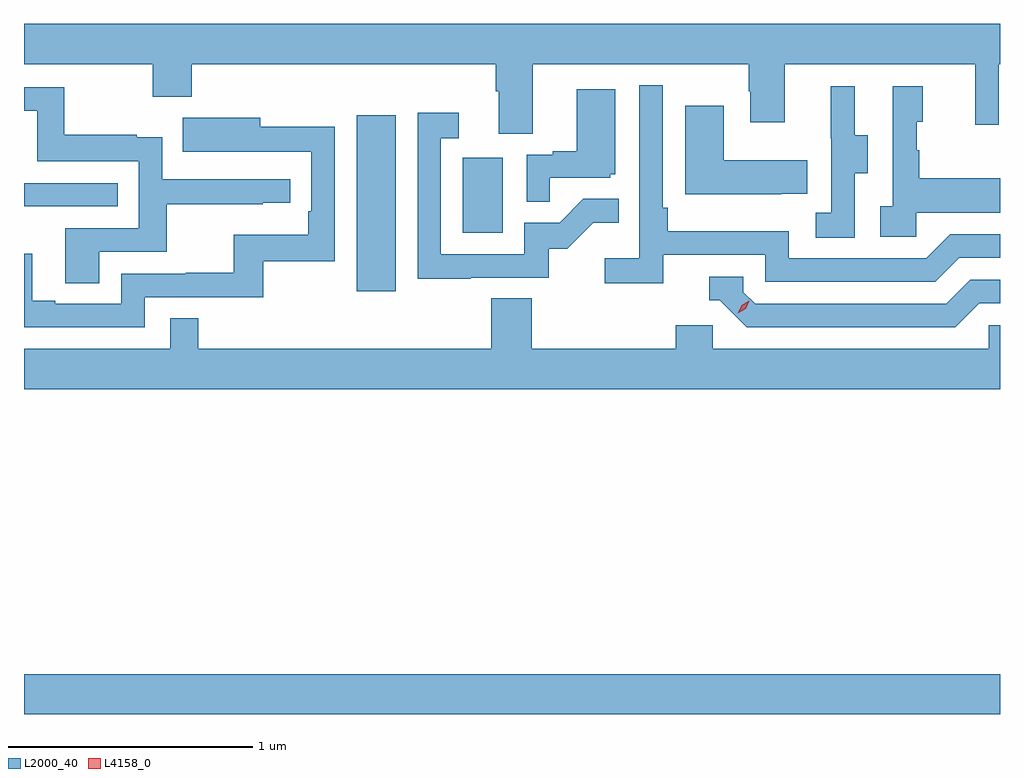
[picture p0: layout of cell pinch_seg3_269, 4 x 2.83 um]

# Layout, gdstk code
import gdstk
lib = gdstk.Library(unit=1e-6, precision=1e-09)
def R(c, l, rs):  # rectangles x0, y0, x1, y1
    for r in rs: c.add(gdstk.rectangle(r[:2], r[2:], *l))
def P(c, l, *ps):  # polygons
    for p in ps: c.add(gdstk.Polygon(p, *l))
L2000_40 = (2000, 40)
L4158_0 = (4158, 0)

pinch_seg3_269 = lib.new_cell('pinch_seg3_269')
R(pinch_seg3_269, L2000_40, [(899.896,715.568,903.896,715.732), (901.259,717.3,901.42,718.021), (901.694,717.54,901.858,717.847), (899.896,717.648,900.281,717.744)])
P(pinch_seg3_269, L2000_40, [(901.981,718.232),(902.866,718.232),(902.866,718.121),(902.873,718.121),(902.873,717.993),(903.013,717.993),(903.013,718.232),(903.794,718.232),(903.794,717.984),(903.891,717.984),(903.891,718.232),(903.896,718.232),(903.896,718.396),(899.896,718.396),(899.896,718.232),(900.424,718.232),(900.424,718.097),(900.584,718.097),(900.584,718.232),(901.829,718.232),(901.829,718.12),(901.841,718.12),(901.841,717.946),(901.981,717.946)],
  [(902.516,717.45),(902.934,717.45),(902.934,717.339),(903.631,717.339),(903.73,717.438),(903.896,717.438),(903.896,717.534),(903.693,717.534),(903.594,717.435),(903.03,717.435),(903.03,717.547),(902.534,717.547),(902.534,717.643),(902.514,717.643),(902.514,718.144),(902.418,718.144),(902.418,717.436),(902.277,717.436),(902.277,717.334),(902.516,717.334)],
  [(903.3,717.784),(903.355,717.784),(903.355,717.939),(903.301,717.939),(903.301,718.141),(903.203,718.141),(903.203,717.927),(903.204,717.927),(903.204,717.623),(903.141,717.623),(903.141,717.52),(903.3,717.52)],
  [(903.552,717.623),(903.896,717.623),(903.896,717.763),(903.565,717.763),(903.565,717.878),(903.555,717.878),(903.555,717.996),(903.58,717.996),(903.58,718.141),(903.456,718.141),(903.456,717.65),(903.405,717.65),(903.405,717.525),(903.552,717.525)],
  [(900.205,717.462),(900.482,717.462),(900.482,717.658),(900.875,717.658),(900.875,717.663),(900.988,717.663),(900.988,717.759),(900.462,717.759),(900.462,717.931),(900.359,717.931),(900.359,717.943),(900.061,717.943),(900.061,718.137),(899.896,718.137),(899.896,718.04),(899.95,718.04),(899.95,717.834),(900.366,717.834),(900.366,717.558),(900.065,717.558),(900.065,717.334),(900.205,717.334)],
  [(902.051,717.765),(902.298,717.765),(902.298,717.78),(902.32,717.78),(902.32,718.129),(902.162,718.129),(902.162,717.874),(902.063,717.874),(902.063,717.861),(901.956,717.861),(901.956,717.667),(902.051,717.667)],
  [(902.999,717.701),(903.107,717.701),(903.107,717.838),(902.764,717.838),(902.764,718.06),(902.606,718.06),(902.606,717.698),(902.999,717.698)],
  [(901.727,717.357),(902.046,717.357),(902.046,717.474),(902.122,717.474),(902.229,717.581),(902.333,717.581),(902.333,717.68),(902.189,717.68),(902.091,717.582),(901.947,717.582),(901.947,717.453),(901.605,717.453),(901.605,717.927),(901.678,717.927),(901.678,718.033),(901.509,718.033),(901.509,717.352),(901.727,717.352)],
  [(900.39,717.276),(900.877,717.276),(900.877,717.423),(901.17,717.423),(901.17,717.974),(900.865,717.974),(900.865,718.012),(900.547,718.012),(900.547,717.872),(900.761,717.872),(900.761,717.873),(901.074,717.873),(901.074,717.628),(901.061,717.628),(901.061,717.532),(900.756,717.532),(900.756,717.377),(900.559,717.377),(900.559,717.372),(900.294,717.372),(900.294,717.249),(900.025,717.249),(900.025,717.262),(899.929,717.262),(899.929,717.455),(899.896,717.455),(899.896,717.153),(900.39,717.153)],
  [(903.811,717.252),(903.896,717.252),(903.896,717.348),(903.774,717.348),(903.675,717.249),(902.892,717.249),(902.844,717.297),(902.844,717.36),(902.705,717.36),(902.705,717.264),(902.748,717.264),(902.859,717.153),(903.712,717.153)],
  [(903.896,717.162),(903.849,717.162),(903.849,717.064),(902.718,717.064),(902.718,717.162),(902.567,717.162),(902.567,717.064),(901.976,717.064),(901.976,717.272),(901.811,717.272),(901.811,717.064),(900.611,717.064),(900.611,717.191),(900.495,717.191),(900.495,717.064),(899.896,717.064),(899.896,716.9),(903.896,716.9)])
P(pinch_seg3_269, L4158_0, [(902.821,717.21),(902.821,717.211),(902.838,717.243),(902.869,717.262),(902.869,717.262),(902.869,717.262),(902.853,717.229),(902.822,717.21)])

lib.write_gds('pinch_seg3_269.gds')
